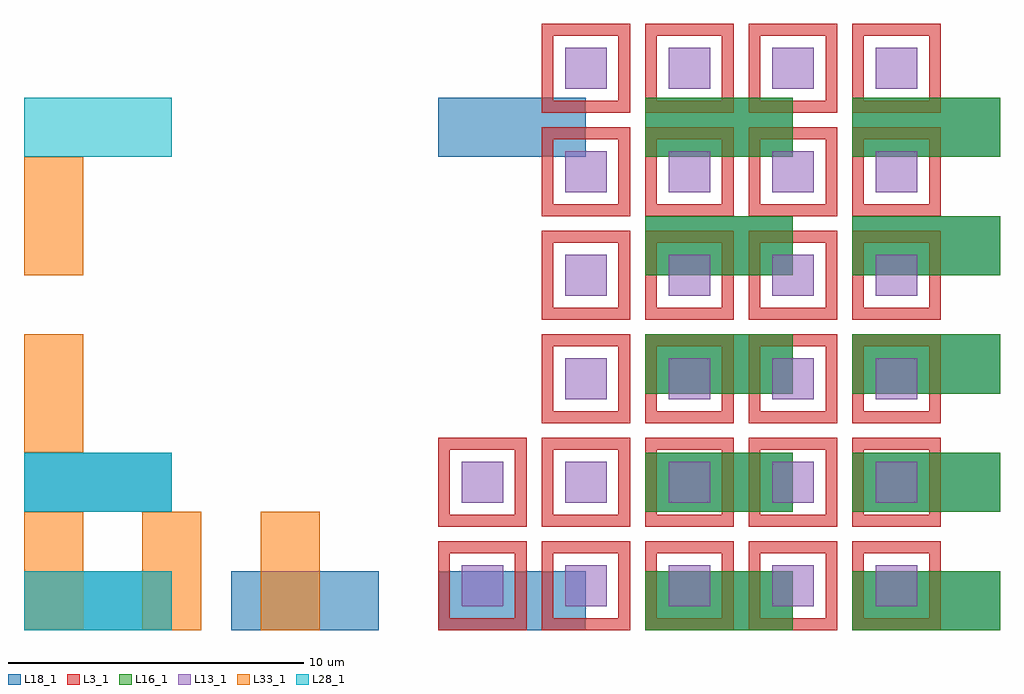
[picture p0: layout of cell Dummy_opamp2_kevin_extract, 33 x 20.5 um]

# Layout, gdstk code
import gdstk
lib = gdstk.Library(unit=1e-6, precision=1e-09)
def R(c, l, rs):  # rectangles x0, y0, x1, y1
    for r in rs: c.add(gdstk.rectangle(r[:2], r[2:], *l))
def A(c, l, x, y, w, h, nx, ny, dx, dy):  # array of equal rectangles
    R(c, l, [(x+i*dx, y+j*dy, x+i*dx+w, y+j*dy+h) for i in range(nx) for j in range(ny)])
def P(c, l, *ps):  # polygons
    for p in ps: c.add(gdstk.Polygon(p, *l))
L3_1 = (3, 1)
L13_1 = (13, 1)
L16_1 = (16, 1)
L18_1 = (18, 1)
L28_1 = (28, 1)
L33_1 = (33, 1)

dummy_opamp2_kevin_extra = lib.new_cell('Dummy_opamp2_kevin_extract')
P(dummy_opamp2_kevin_extra, L3_1, [(14.545,-4.67),(17.545,-4.67),(17.545,-1.67),(17.145,-1.67),(17.145,-4.27),(14.945,-4.27),(14.945,-2.07),(17.145,-2.07),(17.145,-1.67),(14.545,-1.67)],
  [(14.545,-8.17),(17.545,-8.17),(17.545,-5.17),(17.145,-5.17),(17.145,-7.77),(14.945,-7.77),(14.945,-5.57),(17.145,-5.57),(17.145,-5.17),(14.545,-5.17)],
  [(18.045,9.33),(21.045,9.33),(21.045,12.33),(20.645,12.33),(20.645,9.73),(18.445,9.73),(18.445,11.93),(20.645,11.93),(20.645,12.33),(18.045,12.33)],
  [(21.545,9.33),(24.545,9.33),(24.545,12.33),(24.145,12.33),(24.145,9.73),(21.945,9.73),(21.945,11.93),(24.145,11.93),(24.145,12.33),(21.545,12.33)],
  [(25.045,9.33),(28.045,9.33),(28.045,12.33),(27.645,12.33),(27.645,9.73),(25.445,9.73),(25.445,11.93),(27.645,11.93),(27.645,12.33),(25.045,12.33)],
  [(28.545,9.33),(31.545,9.33),(31.545,12.33),(31.145,12.33),(31.145,9.73),(28.945,9.73),(28.945,11.93),(31.145,11.93),(31.145,12.33),(28.545,12.33)],
  [(18.045,5.83),(21.045,5.83),(21.045,8.83),(20.645,8.83),(20.645,6.23),(18.445,6.23),(18.445,8.43),(20.645,8.43),(20.645,8.83),(18.045,8.83)],
  [(21.545,5.83),(24.545,5.83),(24.545,8.83),(24.145,8.83),(24.145,6.23),(21.945,6.23),(21.945,8.43),(24.145,8.43),(24.145,8.83),(21.545,8.83)],
  [(25.045,5.83),(28.045,5.83),(28.045,8.83),(27.645,8.83),(27.645,6.23),(25.445,6.23),(25.445,8.43),(27.645,8.43),(27.645,8.83),(25.045,8.83)],
  [(28.545,5.83),(31.545,5.83),(31.545,8.83),(31.145,8.83),(31.145,6.23),(28.945,6.23),(28.945,8.43),(31.145,8.43),(31.145,8.83),(28.545,8.83)],
  [(18.045,2.33),(21.045,2.33),(21.045,5.33),(20.645,5.33),(20.645,2.73),(18.445,2.73),(18.445,4.93),(20.645,4.93),(20.645,5.33),(18.045,5.33)],
  [(21.545,2.33),(24.545,2.33),(24.545,5.33),(24.145,5.33),(24.145,2.73),(21.945,2.73),(21.945,4.93),(24.145,4.93),(24.145,5.33),(21.545,5.33)],
  [(25.045,2.33),(28.045,2.33),(28.045,5.33),(27.645,5.33),(27.645,2.73),(25.445,2.73),(25.445,4.93),(27.645,4.93),(27.645,5.33),(25.045,5.33)],
  [(28.545,2.33),(31.545,2.33),(31.545,5.33),(31.145,5.33),(31.145,2.73),(28.945,2.73),(28.945,4.93),(31.145,4.93),(31.145,5.33),(28.545,5.33)],
  [(18.045,-1.17),(21.045,-1.17),(21.045,1.83),(20.645,1.83),(20.645,-0.77),(18.445,-0.77),(18.445,1.43),(20.645,1.43),(20.645,1.83),(18.045,1.83)],
  [(21.545,-1.17),(24.545,-1.17),(24.545,1.83),(24.145,1.83),(24.145,-0.77),(21.945,-0.77),(21.945,1.43),(24.145,1.43),(24.145,1.83),(21.545,1.83)],
  [(25.045,-1.17),(28.045,-1.17),(28.045,1.83),(27.645,1.83),(27.645,-0.77),(25.445,-0.77),(25.445,1.43),(27.645,1.43),(27.645,1.83),(25.045,1.83)],
  [(28.545,-1.17),(31.545,-1.17),(31.545,1.83),(31.145,1.83),(31.145,-0.77),(28.945,-0.77),(28.945,1.43),(31.145,1.43),(31.145,1.83),(28.545,1.83)],
  [(18.045,-4.67),(21.045,-4.67),(21.045,-1.67),(20.645,-1.67),(20.645,-4.27),(18.445,-4.27),(18.445,-2.07),(20.645,-2.07),(20.645,-1.67),(18.045,-1.67)],
  [(21.545,-4.67),(24.545,-4.67),(24.545,-1.67),(24.145,-1.67),(24.145,-4.27),(21.945,-4.27),(21.945,-2.07),(24.145,-2.07),(24.145,-1.67),(21.545,-1.67)],
  [(25.045,-4.67),(28.045,-4.67),(28.045,-1.67),(27.645,-1.67),(27.645,-4.27),(25.445,-4.27),(25.445,-2.07),(27.645,-2.07),(27.645,-1.67),(25.045,-1.67)],
  [(28.545,-4.67),(31.545,-4.67),(31.545,-1.67),(31.145,-1.67),(31.145,-4.27),(28.945,-4.27),(28.945,-2.07),(31.145,-2.07),(31.145,-1.67),(28.545,-1.67)],
  [(18.045,-8.17),(21.045,-8.17),(21.045,-5.17),(20.645,-5.17),(20.645,-7.77),(18.445,-7.77),(18.445,-5.57),(20.645,-5.57),(20.645,-5.17),(18.045,-5.17)],
  [(21.545,-8.17),(24.545,-8.17),(24.545,-5.17),(24.145,-5.17),(24.145,-7.77),(21.945,-7.77),(21.945,-5.57),(24.145,-5.57),(24.145,-5.17),(21.545,-5.17)],
  [(25.045,-8.17),(28.045,-8.17),(28.045,-5.17),(27.645,-5.17),(27.645,-7.77),(25.445,-7.77),(25.445,-5.57),(27.645,-5.57),(27.645,-5.17),(25.045,-5.17)],
  [(28.545,-8.17),(31.545,-8.17),(31.545,-5.17),(31.145,-5.17),(31.145,-7.77),(28.945,-7.77),(28.945,-5.57),(31.145,-5.57),(31.145,-5.17),(28.545,-5.17)])
A(dummy_opamp2_kevin_extra, L13_1, 15.345, -7.37, 1.4, 1.4, 5, 2, 3.5, 3.5)
A(dummy_opamp2_kevin_extra, L13_1, 18.845, -0.37, 1.4, 1.4, 4, 4, 3.5, 3.5)
A(dummy_opamp2_kevin_extra, L16_1, 21.545, -8.17, 5, 2, 1, 5, 0, 4)
A(dummy_opamp2_kevin_extra, L16_1, 28.545, -8.17, 5, 2, 1, 5, 0, 4)
A(dummy_opamp2_kevin_extra, L18_1, 14.545, -8.17, 5, 2, 3, 2, 7, 16)
A(dummy_opamp2_kevin_extra, L18_1, 21.545, -4.17, 5, 2, 1, 3, 0, 4)
A(dummy_opamp2_kevin_extra, L18_1, 28.545, -4.17, 5, 2, 1, 3, 0, 4)
R(dummy_opamp2_kevin_extra, L18_1, [(0.545,-8.17,5.545,-6.17), (0.545,-4.17,5.545,-2.17)])
R(dummy_opamp2_kevin_extra, L28_1, [(0.545,-8.17,5.545,-6.17), (0.545,-4.17,5.545,-2.17)])
A(dummy_opamp2_kevin_extra, L33_1, 0.545, -8.17, 2, 4, 3, 1, 4, 0)
R(dummy_opamp2_kevin_extra, L33_1, [(0.545,-2.17,2.545,1.83), (0.545,3.83,2.545,7.83)])
dummy_opamp2_kevin_extra.add(gdstk.FlexPath([(7.545,-7.17),(12.545,-7.17)], 2, ends="flush", simple_path=True, layer=18, datatype=1))  # L18_1
dummy_opamp2_kevin_extra.add(gdstk.FlexPath([(0.545,8.83),(5.545,8.83)], 2, ends="flush", simple_path=True, layer=28, datatype=1))  # L28_1

lib.write_gds('Dummy_opamp2_kevin_extract.gds')
